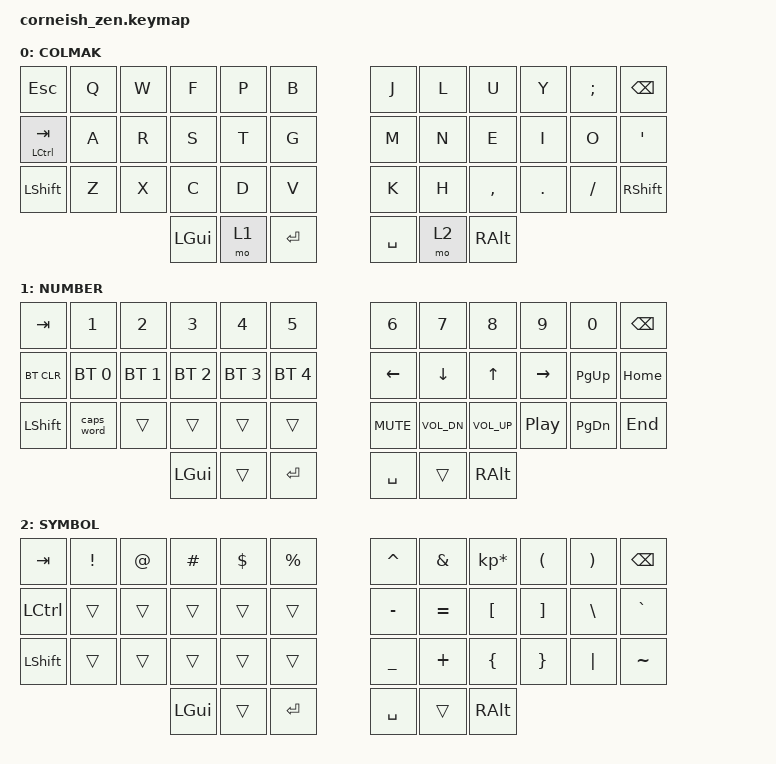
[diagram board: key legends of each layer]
#include <behaviors.dtsi>
#include <dt-bindings/zmk/keys.h>
#include <dt-bindings/zmk/bt.h>

/ {
  chosen {
    zmk,matrix_transform = &default_transform;
    //zmk,matrix_transform = &five_column_transform;
  };
};

/ {
        keymap {
                compatible = "zmk,keymap";

                default_layer {
                        label = "COLMAK";
// -----------------------------------------------------------------------------------------
// |  ESC |  Q  |  W  |  F  |  P  |  B  |   |  J  |  L   |  U  |  Y  |  ;  | BKSP |
// | CTRL |  A  |  R  |  S  |  T  |  G  |   |  M  |  N   |  E  |  I  |  O  |  '   |
// | SHFT |  Z  |  X  |  C  |  D  |  V  |   |  K  |  H   |  ,  |  .  |  /  | RSHFT  |
//                    | GUI | LWR | ENT |   | SPC | RSE  | ALT |
                        bindings = <
   &kp ESC   &kp Q &kp W &kp F &kp P &kp B   &kp J &kp L  &kp U     &kp Y   &kp SEMI    &kp BSPC
   &mt LCTRL TAB &kp A &kp R &kp S &kp T &kp G   &kp M &kp N  &kp E     &kp I   &kp O &kp SQT
   &kp LSHFT &kp Z &kp X &kp C &kp D &kp V   &kp K &kp H  &kp COMMA &kp DOT &kp FSLH &kp RSHFT
                  &kp LGUI &mo 1 &kp RET   &kp SPACE &mo 2 &kp RALT
                        >;
                };
                lower_layer {
                        label = "NUMBER";
// -----------------------------------------------------------------------------------------
// |  TAB |  1  |  2  |  3  |  4  |  5  |   |  6  |  7  |  8  |  9  |  0  | BKSP |
// | BTCLR| BT1 | BT2 | BT3 | BT4 | BT5 |   | LFT | DWN |  UP | RGT | PGU | HME  |
// | SHFT | CAPW|     |     |     |     |   | MTE | VDN | VUP | PLY | PGD | END  |
//                    | GUI |     | ENT |   | SPC |     | ALT |
                        bindings = <
   &kp TAB    &kp N1       &kp N2       &kp N3       &kp N4       &kp N5         &kp N6   &kp N7   &kp N8 &kp N9    &kp N0 &kp BSPC
   &bt BT_CLR &bt BT_SEL 0 &bt BT_SEL 1 &bt BT_SEL 2 &bt BT_SEL 3 &bt BT_SEL 4   &kp LEFT &kp DOWN &kp UP &kp RIGHT &kp PG_UP &kp HOME
   &kp LSHFT  &caps_word       &trans       &trans       &trans       &trans         &kp K_MUTE &kp C_VOL_DN   &kp C_VOL_UP &kp C_PP  &kp PG_DN &kp END
                          	        &kp LGUI     &trans       &kp RET      &kp SPACE  &trans   &kp RALT
                        >;
                };

                raise_layer {
                        label = "SYMBOL";
// -----------------------------------------------------------------------------------------
// |  TAB |  !  |  @  |  #  |  $  |  %  |   |  ^  |  &  |  *  |  (  |  )  | BKSP |
// | CTRL |     |     |     |     |     |   |  -  |  =  |  [  |  ]  |  \  |  `   |
// | SHFT |     |     |     |     |     |   |  _  |  +  |  {  |  }  | "|" |  ~   |
//                    | GUI |     | ENT |   | SPC |     | ALT |
                        bindings = <
   &kp  TAB  &kp EXCL &kp AT &kp HASH &kp DLLR &kp PRCNT   &kp CARET &kp AMPS  &kp KP_MULTIPLY &kp LPAR &kp RPAR &kp BSPC
   &kp LCTRL &trans   &trans &trans   &trans   &trans      &kp MINUS &kp EQUAL &kp LBKT        &kp RBKT &kp BSLH &kp GRAVE
   &kp LSHFT &trans   &trans &trans   &trans   &trans      &kp UNDER &kp PLUS  &kp LBRC        &kp RBRC &kp PIPE &kp TILDE
                    	     &kp LGUI &trans   &kp RET   &kp SPACE   &trans    &kp RALT
                        >;
                };
        };
};
